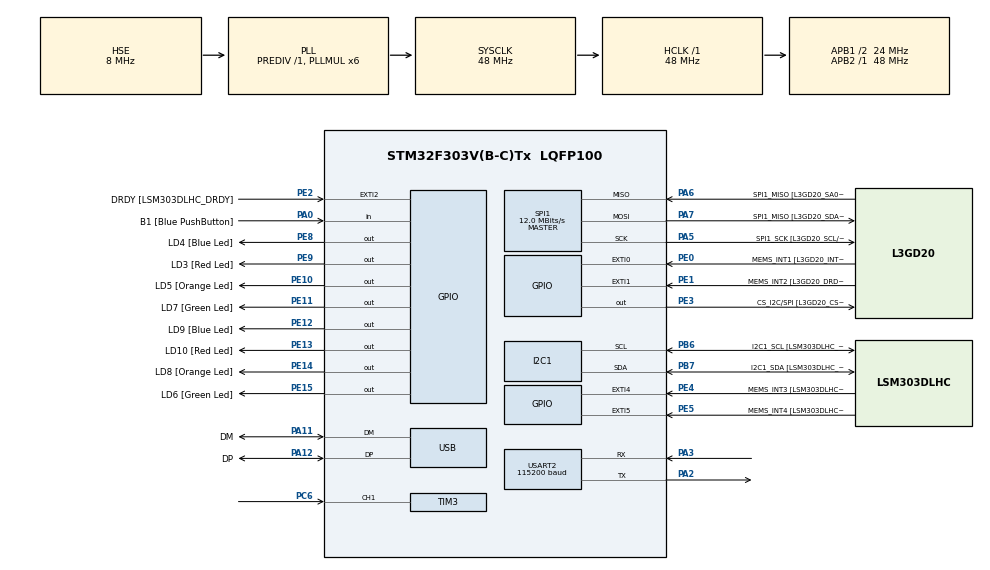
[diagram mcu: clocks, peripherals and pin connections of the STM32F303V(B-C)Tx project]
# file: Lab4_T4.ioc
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I2C1.Timing=0x00201D2B
I2C1.Timing-I2C=0x2000090E
Mcu.Family=STM32F3
Mcu.Name=STM32F303V(B-C)Tx
Mcu.Package=LQFP100
NVIC.PriorityGroup=NVIC_PRIORITYGROUP_0
NVIC.TIM3_IRQn=true\:0\:0\:false\:false\:true\:true\:true\:true
PA0.GPIO_Label=B1 [Blue PushButton]
PA0.Signal=GPIO_Input
PA11.GPIO_Label=DM
PA11.Mode=Device
PA11.Signal=USB_DM
PA12.GPIO_Label=DP
PA12.Mode=Device
PA12.Signal=USB_DP
PA13.GPIO_Label=SWDIO
PA13.Mode=Serial_Wire
PA13.Signal=SYS_JTMS-SWDIO
PA14.GPIO_Label=SWCLK
PA14.Mode=Serial_Wire
PA14.Signal=SYS_JTCK-SWCLK
PA2.Mode=Asynchronous
PA2.Signal=USART2_TX
PA3.Mode=Asynchronous
PA3.Signal=USART2_RX
PA5.GPIO_Label=SPI1_SCK [L3GD20_SCL/SPC]
PA5.Mode=Full_Duplex_Master
PA5.Signal=SPI1_SCK
PA6.GPIO_Label=SPI1_MISO [L3GD20_SA0/SDO]
PA6.Mode=Full_Duplex_Master
PA6.Signal=SPI1_MISO
PA7.GPIO_Label=SPI1_MISO [L3GD20_SDA/SDI/SDO]
PA7.Mode=Full_Duplex_Master
PA7.Signal=SPI1_MOSI
PB3.GPIO_Label=SWO
PB3.Signal=SYS_JTDO-TRACESWO
PB6.GPIO_Label=I2C1_SCL [LSM303DLHC_SCL]
PB6.GPIO_Pu=GPIO_PULLUP
PB6.Mode=I2C
PB6.Signal=I2C1_SCL
PB7.GPIO_Label=I2C1_SDA [LSM303DLHC_SDA]
PB7.GPIO_Pu=GPIO_PULLUP
PB7.Mode=I2C
PB7.Signal=I2C1_SDA
PC14-OSC32_IN.GPIO_Label=OSC32_IN
PC14-OSC32_IN.Signal=RCC_OSC32_IN
PC15-OSC32_OUT.GPIO_Label=OSC32_OUT
PC15-OSC32_OUT.Signal=RCC_OSC32_OUT
PC6.Signal=S_TIM3_CH1
PE0.GPIO_Label=MEMS_INT1 [L3GD20_INT1]
PE0.GPIO_ModeDefaultEXTI=GPIO_MODE_EVT_RISING
PE0.Signal=GPXTI0
PE1.GPIO_Label=MEMS_INT2 [L3GD20_DRDY/INT2]
PE1.GPIO_ModeDefaultEXTI=GPIO_MODE_EVT_RISING
PE1.Signal=GPXTI1
PE10.GPIO_Label=LD5 [Orange Led]
PE10.Signal=GPIO_Output
PE11.GPIO_Label=LD7 [Green Led]
PE11.Signal=GPIO_Output
PE12.GPIO_Label=LD9 [Blue Led]
PE12.Signal=GPIO_Output
PE13.GPIO_Label=LD10 [Red Led]
PE13.Signal=GPIO_Output
PE14.GPIO_Label=LD8 [Orange Led]
PE14.Signal=GPIO_Output
PE15.GPIO_Label=LD6 [Green Led]
PE15.Signal=GPIO_Output
PE2.GPIO_Label=DRDY [LSM303DLHC_DRDY]
PE2.GPIO_ModeDefaultEXTI=GPIO_MODE_EVT_RISING
PE2.Signal=GPXTI2
PE3.GPIO_Label=CS_I2C/SPI [L3GD20_CS_I2C/SPI]
PE3.Signal=GPIO_Output
PE4.GPIO_Label=MEMS_INT3 [LSM303DLHC_INT1]
PE4.GPIO_ModeDefaultEXTI=GPIO_MODE_EVT_RISING
PE4.Signal=GPXTI4
PE5.GPIO_Label=MEMS_INT4 [LSM303DLHC_INT2]
PE5.GPIO_ModeDefaultEXTI=GPIO_MODE_EVT_RISING
PE5.Signal=GPXTI5
PE8.GPIO_Label=LD4 [Blue Led]
PE8.Signal=GPIO_Output
PE9.GPIO_Label=LD3 [Red Led]
PE9.Signal=GPIO_Output
PF0-OSC_IN.GPIO_Label=OSC_IN
PF0-OSC_IN.Mode=HSE-External-Clock-Source
PF0-OSC_IN.Signal=RCC_OSC_IN
PF1-OSC_OUT.GPIO_Label=OSC_OUT
PF1-OSC_OUT.Signal=RCC_OSC_OUT
ProjectManager.HeapSize=0x200
ProjectManager.StackSize=0x400
ProjectManager.TargetToolchain=CMake
RCC.AHBFreq_Value=48000000
RCC.APB1CLKDivider=RCC_HCLK_DIV2
RCC.APB1Freq_Value=24000000
RCC.APB1TimFreq_Value=48000000
RCC.APB2Freq_Value=48000000
RCC.APB2TimFreq_Value=48000000
RCC.CortexFreq_Value=48000000
RCC.HCLKFreq_Value=48000000
RCC.HSE_VALUE=8000000
RCC.HSI_VALUE=8000000
RCC.LSE_VALUE=32768
RCC.PLLMUL=RCC_PLL_MUL6
RCC.SYSCLKFreq_VALUE=48000000
RCC.SYSCLKSourceVirtual=RCC_SYSCLKSOURCE_PLLCLK
RCC.USBFreq_Value=48000000
SH.S_TIM3_CH1.0=TIM3_CH1,Input_Capture1_from_TI1
SPI1.BaudRatePrescaler=SPI_BAUDRATEPRESCALER_4
SPI1.BaudRatePrescaler-Full_Duplex_Master=SPI_BAUDRATEPRESCALER_2
SPI1.CalculateBaudRate=12.0 MBits/s
SPI1.CalculateBaudRate-Full_Duplex_Master=24.0 MBits/s
SPI1.Direction=SPI_DIRECTION_2LINES
SPI1.Mode=SPI_MODE_MASTER
SPI1.Mode-Full_Duplex_Master=SPI_MODE_MASTER
SPI1.VirtualType=VM_MASTER
TIM3.Channel-Input_Capture1_from_TI1=TIM_CHANNEL_1
USART2.BaudRate=115200
USART2.VirtualMode-Asynchronous=VM_ASYNC
board=STM32F3DISCOVERY

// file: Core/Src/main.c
/* USER CODE BEGIN Header */
/**
  ******************************************************************************
  * @file           : main.c
  * @brief          : Main program body
  ******************************************************************************
  * @attention
  *
  * Copyright (c) 2026 STMicroelectronics.
  * All rights reserved.
  *
  * This software is licensed under terms that can be found in the LICENSE file
  * in the root directory of this software component.
  * If no LICENSE file comes with this software, it is provided AS-IS.
  *
  ******************************************************************************
  */
/* USER CODE END Header */

#include "main.h"

/* USER CODE BEGIN Includes */
#include <stdio.h>
/* USER CODE END Includes */

I2C_HandleTypeDef hi2c1;
SPI_HandleTypeDef hspi1;
TIM_HandleTypeDef htim3;
UART_HandleTypeDef huart2;
PCD_HandleTypeDef hpcd_USB_FS;

/* USER CODE BEGIN PV */
uint32_t last_capture = 0;
uint32_t period = 0;
uint32_t frequency_hz  = 0;     // whole Hz part
uint32_t frequency_mhz = 0;     // milli-Hz part (0–999)
uint8_t capture_ready = 0;      // 0 = waiting for first edge, 1 = valid measurements
/* USER CODE END PV */

void SystemClock_Config(void);
static void MX_GPIO_Init(void);
static void MX_I2C1_Init(void);
static void MX_SPI1_Init(void);
static void MX_TIM3_Init(void);
static void MX_USB_PCD_Init(void);
static void MX_USART2_UART_Init(void);

/* USER CODE BEGIN 0 */
#ifdef __GNUC__
#define PUTCHAR_PROTOTYPE int __io_putchar(int ch)
#else
#define PUTCHAR_PROTOTYPE int fputc(int ch, FILE *f)
#endif

PUTCHAR_PROTOTYPE
{
  HAL_UART_Transmit(&huart2, (uint8_t *)&ch, 1, HAL_MAX_DELAY);
  return ch;
}
/* USER CODE END 0 */

int main(void)
{

  /* MCU Configuration--------------------------------------------------------*/

  /* Reset of all peripherals, Initializes the Flash interface and the Systick. */
  HAL_Init();

  /* Configure the system clock */
  SystemClock_Config();

  /* Initialize all configured peripherals */
  MX_GPIO_Init();
  MX_I2C1_Init();
  MX_SPI1_Init();
  MX_TIM3_Init();
  MX_USB_PCD_Init();
  MX_USART2_UART_Init();

  /* USER CODE BEGIN 2 */
  HAL_NVIC_SetPriority(TIM3_IRQn, 0, 0);
  HAL_NVIC_EnableIRQ(TIM3_IRQn);

  HAL_TIM_IC_Start_IT(&htim3, TIM_CHANNEL_1);
  /* USER CODE END 2 */

  /* Infinite loop */
  /* USER CODE BEGIN WHILE */
  while (1)
  {
    if (capture_ready)
    {
      if (period > 0)
      {
        if (frequency_hz > 0 || frequency_mhz > 0)
        {
          printf("Period: %lu ticks → Frequency: %lu.%03lu Hz\r\n",
                 period, frequency_hz, frequency_mhz);
        }
        else
        {
          printf("Period: %lu ticks → Frequency: <10 Hz (filtered)\r\n", period);
        }
      }
      else
      {
        printf("No valid signal yet...\r\n");
      }
    }
    else
    {
      printf("Waiting for first rising edge on PC6 (TIM3_CH1)...\r\n");
    }

    HAL_Delay(1000);

    /* USER CODE END WHILE */

  }
}

void SystemClock_Config(void)
{
  RCC_OscInitTypeDef RCC_OscInitStruct = {0};
  RCC_ClkInitTypeDef RCC_ClkInitStruct = {0};
  RCC_PeriphCLKInitTypeDef PeriphClkInit = {0};

  RCC_OscInitStruct.OscillatorType = RCC_OSCILLATORTYPE_HSI|RCC_OSCILLATORTYPE_HSE;
  RCC_OscInitStruct.HSEState = RCC_HSE_BYPASS;
  RCC_OscInitStruct.HSEPredivValue = RCC_HSE_PREDIV_DIV1;
  RCC_OscInitStruct.HSIState = RCC_HSI_ON;
  RCC_OscInitStruct.HSICalibrationValue = RCC_HSICALIBRATION_DEFAULT;
  RCC_OscInitStruct.PLL.PLLState = RCC_PLL_ON;
  RCC_OscInitStruct.PLL.PLLSource = RCC_PLLSOURCE_HSE;
  RCC_OscInitStruct.PLL.PLLMUL = RCC_PLL_MUL6;
  if (HAL_RCC_OscConfig(&RCC_OscInitStruct) != HAL_OK)
  {
    Error_Handler();
  }

  RCC_ClkInitStruct.ClockType = RCC_CLOCKTYPE_HCLK|RCC_CLOCKTYPE_SYSCLK
                              |RCC_CLOCKTYPE_PCLK1|RCC_CLOCKTYPE_PCLK2;
  RCC_ClkInitStruct.SYSCLKSource = RCC_SYSCLKSOURCE_PLLCLK;
  RCC_ClkInitStruct.AHBCLKDivider = RCC_SYSCLK_DIV1;
  RCC_ClkInitStruct.APB1CLKDivider = RCC_HCLK_DIV2;
  RCC_ClkInitStruct.APB2CLKDivider = RCC_HCLK_DIV1;

  if (HAL_RCC_ClockConfig(&RCC_ClkInitStruct, FLASH_LATENCY_1) != HAL_OK)
  {
    Error_Handler();
  }

  PeriphClkInit.PeriphClockSelection = RCC_PERIPHCLK_USB|RCC_PERIPHCLK_USART2
                              |RCC_PERIPHCLK_I2C1;
  PeriphClkInit.Usart2ClockSelection = RCC_USART2CLKSOURCE_PCLK1;
  PeriphClkInit.I2c1ClockSelection = RCC_I2C1CLKSOURCE_HSI;
  PeriphClkInit.USBClockSelection = RCC_USBCLKSOURCE_PLL;

  if (HAL_RCCEx_PeriphCLKConfig(&PeriphClkInit) != HAL_OK)
  {
    Error_Handler();
  }
}

/* ─────────────────────────────────────────────────────────────────────────── */
/* ────────────────────────────── Init Functions ───────────────────────────── */
/* ─────────────────────────────────────────────────────────────────────────── */

static void MX_GPIO_Init(void)
{
  GPIO_InitTypeDef GPIO_InitStruct = {0};

  __HAL_RCC_GPIOE_CLK_ENABLE();
  __HAL_RCC_GPIOC_CLK_ENABLE();
  __HAL_RCC_GPIOF_CLK_ENABLE();
  __HAL_RCC_GPIOA_CLK_ENABLE();
  __HAL_RCC_GPIOB_CLK_ENABLE();

  HAL_GPIO_WritePin(GPIOE, CS_I2C_SPI_Pin|LD4_Pin|LD3_Pin|LD5_Pin
                          |LD7_Pin|LD9_Pin|LD10_Pin|LD8_Pin
                          |LD6_Pin, GPIO_PIN_RESET);

  GPIO_InitStruct.Pin = DRDY_Pin|MEMS_INT3_Pin|MEMS_INT4_Pin|MEMS_INT1_Pin
                          |MEMS_INT2_Pin;
  GPIO_InitStruct.Mode = GPIO_MODE_EVT_RISING;
  GPIO_InitStruct.Pull = GPIO_NOPULL;
  HAL_GPIO_Init(GPIOE, &GPIO_InitStruct);

  GPIO_InitStruct.Pin = CS_I2C_SPI_Pin|LD4_Pin|LD3_Pin|LD5_Pin
                          |LD7_Pin|LD9_Pin|LD10_Pin|LD8_Pin
                          |LD6_Pin;
  GPIO_InitStruct.Mode = GPIO_MODE_OUTPUT_PP;
  GPIO_InitStruct.Pull = GPIO_NOPULL;
  GPIO_InitStruct.Speed = GPIO_SPEED_FREQ_LOW;
  HAL_GPIO_Init(GPIOE, &GPIO_InitStruct);

  GPIO_InitStruct.Pin = B1_Pin;
  GPIO_InitStruct.Mode = GPIO_MODE_INPUT;
  GPIO_InitStruct.Pull = GPIO_NOPULL;
  HAL_GPIO_Init(B1_GPIO_Port, &GPIO_InitStruct);

  /* USER CODE BEGIN MX_GPIO_Init_2 */
  /* PA2 (TX), PA3 (RX) → USART2 AF7 */
  GPIO_InitStruct.Pin       = GPIO_PIN_2 | GPIO_PIN_3;
  GPIO_InitStruct.Mode      = GPIO_MODE_AF_PP;
  GPIO_InitStruct.Pull      = GPIO_NOPULL;
  GPIO_InitStruct.Speed     = GPIO_SPEED_FREQ_HIGH;
  GPIO_InitStruct.Alternate = GPIO_AF7_USART2;
  HAL_GPIO_Init(GPIOA, &GPIO_InitStruct);

  /* PC6 → TIM3_CH1 Input Capture AF2 */
  GPIO_InitStruct.Pin       = GPIO_PIN_6;
  GPIO_InitStruct.Mode      = GPIO_MODE_AF_PP;
  GPIO_InitStruct.Pull      = GPIO_NOPULL;   // ← change to PULLDOWN if noisy
  GPIO_InitStruct.Speed     = GPIO_SPEED_FREQ_HIGH;
  GPIO_InitStruct.Alternate = GPIO_AF2_TIM3;
  HAL_GPIO_Init(GPIOC, &GPIO_InitStruct);
  /* USER CODE END MX_GPIO_Init_2 */
}

static void MX_I2C1_Init(void)
{
  hi2c1.Instance = I2C1;
  hi2c1.Init.Timing = 0x00201D2B;
  hi2c1.Init.OwnAddress1 = 0;
  hi2c1.Init.AddressingMode = I2C_ADDRESSINGMODE_7BIT;
  hi2c1.Init.DualAddressMode = I2C_DUALADDRESS_DISABLE;
  hi2c1.Init.OwnAddress2 = 0;
  hi2c1.Init.OwnAddress2Masks = I2C_OA2_NOMASK;
  hi2c1.Init.GeneralCallMode = I2C_GENERALCALL_DISABLE;
  hi2c1.Init.NoStretchMode = I2C_NOSTRETCH_DISABLE;
  if (HAL_I2C_Init(&hi2c1) != HAL_OK) { Error_Handler(); }

  if (HAL_I2CEx_ConfigAnalogFilter(&hi2c1, I2C_ANALOGFILTER_ENABLE) != HAL_OK) { Error_Handler(); }
  if (HAL_I2CEx_ConfigDigitalFilter(&hi2c1, 0) != HAL_OK) { Error_Handler(); }
}

static void MX_SPI1_Init(void)
{
  hspi1.Instance = SPI1;
  hspi1.Init.Mode = SPI_MODE_MASTER;
  hspi1.Init.Direction = SPI_DIRECTION_2LINES;
  hspi1.Init.DataSize = SPI_DATASIZE_4BIT;
  hspi1.Init.CLKPolarity = SPI_POLARITY_LOW;
  hspi1.Init.CLKPhase = SPI_PHASE_1EDGE;
  hspi1.Init.NSS = SPI_NSS_SOFT;
  hspi1.Init.BaudRatePrescaler = SPI_BAUDRATEPRESCALER_4;
  hspi1.Init.FirstBit = SPI_FIRSTBIT_MSB;
  hspi1.Init.TIMode = SPI_TIMODE_DISABLE;
  hspi1.Init.CRCCalculation = SPI_CRCCALCULATION_DISABLE;
  hspi1.Init.CRCPolynomial = 7;
  hspi1.Init.CRCLength = SPI_CRC_LENGTH_DATASIZE;
  hspi1.Init.NSSPMode = SPI_NSS_PULSE_ENABLE;
  if (HAL_SPI_Init(&hspi1) != HAL_OK) { Error_Handler(); }
}

static void MX_TIM3_Init(void)
{
  TIM_MasterConfigTypeDef sMasterConfig = {0};
  TIM_IC_InitTypeDef sConfigIC = {0};

  htim3.Instance = TIM3;
  htim3.Init.Prescaler = 0;
  htim3.Init.CounterMode = TIM_COUNTERMODE_UP;
  htim3.Init.Period = 65535;
  htim3.Init.ClockDivision = TIM_CLOCKDIVISION_DIV1;
  htim3.Init.AutoReloadPreload = TIM_AUTORELOAD_PRELOAD_DISABLE;

  if (HAL_TIM_IC_Init(&htim3) != HAL_OK) { Error_Handler(); }

  sMasterConfig.MasterOutputTrigger = TIM_TRGO_RESET;
  sMasterConfig.MasterSlaveMode = TIM_MASTERSLAVEMODE_DISABLE;
  if (HAL_TIMEx_MasterConfigSynchronization(&htim3, &sMasterConfig) != HAL_OK) { Error_Handler(); }

  sConfigIC.ICPolarity = TIM_INPUTCHANNELPOLARITY_RISING;
  sConfigIC.ICSelection = TIM_ICSELECTION_DIRECTTI;
  sConfigIC.ICPrescaler = TIM_ICPSC_DIV1;
  sConfigIC.ICFilter = 0;
  if (HAL_TIM_IC_ConfigChannel(&htim3, &sConfigIC, TIM_CHANNEL_1) != HAL_OK) { Error_Handler(); }
}

static void MX_USART2_UART_Init(void)
{
  huart2.Instance = USART2;
  huart2.Init.BaudRate = 115200;
  huart2.Init.WordLength = UART_WORDLENGTH_8B;
  huart2.Init.StopBits = UART_STOPBITS_1;
  huart2.Init.Parity = UART_PARITY_NONE;
  huart2.Init.Mode = UART_MODE_TX_RX;
  huart2.Init.HwFlowCtl = UART_HWCONTROL_NONE;
  huart2.Init.OverSampling = UART_OVERSAMPLING_16;
  huart2.Init.OneBitSampling = UART_ONE_BIT_SAMPLE_DISABLE;
  huart2.AdvancedInit.AdvFeatureInit = UART_ADVFEATURE_NO_INIT;
  if (HAL_UART_Init(&huart2) != HAL_OK) { Error_Handler(); }
}

static void MX_USB_PCD_Init(void)
{
  hpcd_USB_FS.Instance = USB;
  hpcd_USB_FS.Init.dev_endpoints = 8;
  hpcd_USB_FS.Init.speed = PCD_SPEED_FULL;
  hpcd_USB_FS.Init.phy_itface = PCD_PHY_EMBEDDED;
  hpcd_USB_FS.Init.low_power_enable = DISABLE;
  hpcd_USB_FS.Init.battery_charging_enable = DISABLE;
  if (HAL_PCD_Init(&hpcd_USB_FS) != HAL_OK) { Error_Handler(); }
}

/* USER CODE BEGIN 4 */
void HAL_TIM_IC_CaptureCallback(TIM_HandleTypeDef *htim)
{
  if (htim->Instance == TIM3 && htim->Channel == HAL_TIM_ACTIVE_CHANNEL_1)
  {
    uint32_t current_capture = HAL_TIM_ReadCapturedValue(htim, TIM_CHANNEL_1);

    if (capture_ready == 0)
    {
      last_capture = current_capture;
      capture_ready = 1;
      return;
    }

    if (current_capture >= last_capture)
    {
      period = current_capture - last_capture;
    }
    else
    {
      period = (65535UL - last_capture) + current_capture + 1UL;
    }

    last_capture = current_capture;

    if (period == 0 || period > 4800000UL)   // < ~10 Hz → no signal / filter noise
    {
      frequency_hz  = 0;
      frequency_mhz = 0;
    }
    else
    {
      // 48 MHz × 1000 / period → milli-Hz (use 64-bit to avoid overflow)
      uint64_t freq_milli = (48000000ULL * 1000ULL) / period;

      frequency_hz  = (uint32_t)(freq_milli / 1000);
      frequency_mhz = (uint32_t)(freq_milli % 1000);
    }
  }
}
/* USER CODE END 4 */

void Error_Handler(void)
{
  __disable_irq();
  while (1)
  {
  }
}
